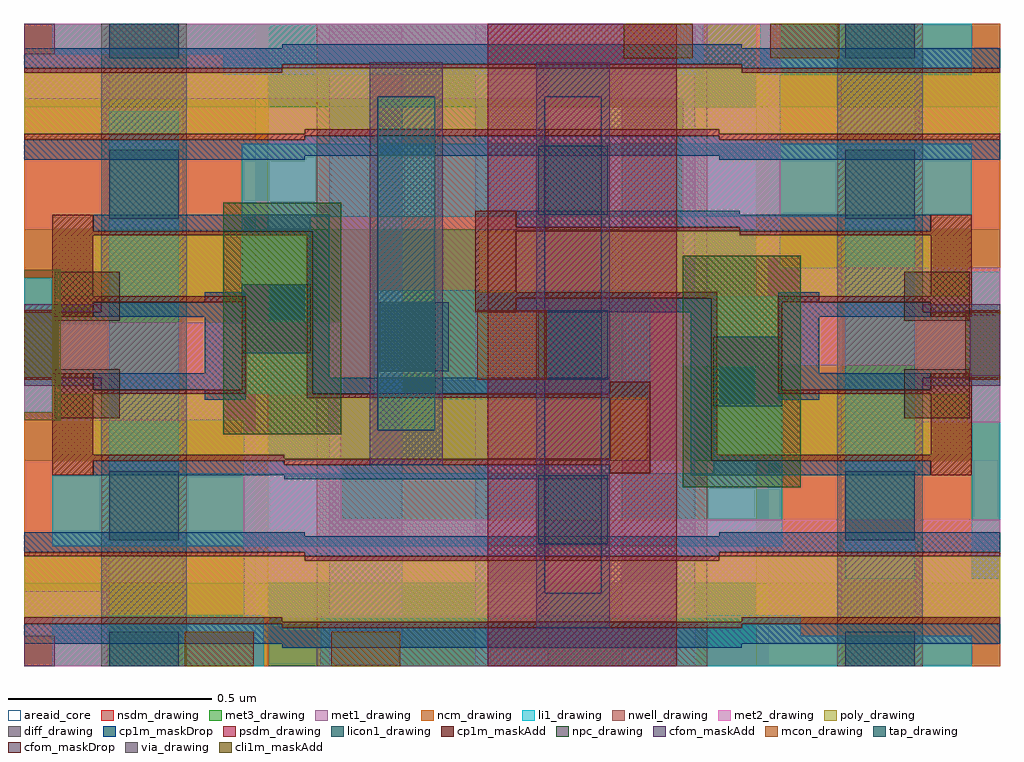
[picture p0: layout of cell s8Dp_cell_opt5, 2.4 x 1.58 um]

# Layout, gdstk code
from math import pi, radians
import gdstk
lib = gdstk.Library(unit=1e-6, precision=1e-09)
def R(c, l, rs):  # rectangles x0, y0, x1, y1
    for r in rs: c.add(gdstk.rectangle(r[:2], r[2:], *l))
def P(c, l, *ps):  # polygons
    for p in ps: c.add(gdstk.Polygon(p, *l))
cfom_maskAdd = (22, 21)
cfom_maskDrop = (22, 22)
cp1m_maskDrop = (33, 42)
cp1m_maskAdd = (33, 43)
nwell_drawing = (64, 20)
diff_drawing = (65, 20)
tap_drawing = (65, 44)
poly_drawing = (66, 20)
licon1_drawing = (66, 44)
li1_drawing = (67, 20)
mcon_drawing = (67, 44)
met1_drawing = (68, 20)
via_drawing = (68, 44)
met2_drawing = (69, 20)
met3_drawing = (70, 20)
areaid_core = (81, 2)
ncm_drawing = (92, 44)
nsdm_drawing = (93, 44)
psdm_drawing = (94, 20)
npc_drawing = (95, 20)
cli1m_maskAdd = (115, 43)

s8dp_mcon_05 = lib.new_cell('s8Dp_mcon_05')
R(s8dp_mcon_05, mcon_drawing, [(-0.085,0,0.085,0.085)])

s8dp_cell_half_limcon_op = lib.new_cell('s8Dp_cell_half_limcon_optC')
R(s8dp_cell_half_limcon_op, li1_drawing, [(0.07,0,0.59,0.125), (0.73,0,1.2,0.125), (0,0.625,0.07,0.955), (0.86,0.655,1.2,0.925)])
P(s8dp_cell_half_limcon_op, li1_drawing, [(0.49,1.455),(0.49,1.505),(0.07,1.505),(0.07,1.58),(1.2,1.58),(1.2,1.455)],
  [(0.535,0.67),(0.535,1.285),(1.2,1.285),(1.2,1.105),(0.705,1.105),(0.705,0.67)],
  [(0.07,0.295),(0.07,0.47),(0.21,0.47),(0.21,1.365),(0.38,1.365),(0.38,0.475),(1.2,0.475),(1.2,0.295)])
R(s8dp_cell_half_limcon_op, cli1m_maskAdd, [(0,0.605,0.07,0.625), (0.07,0.605,0.09,0.975), (0,0.955,0.07,0.975)])
s8dp_cell_half_limcon_op.add(gdstk.Reference(s8dp_mcon_05, (0.84,0)))
s8dp_cell_half_limcon_op.add(gdstk.Reference(s8dp_mcon_05, (1.2,0.79), rotation=pi/2))
s8dp_cell_half_limcon_op.add(gdstk.Reference(s8dp_mcon_05, (0,0.79), rotation=3*pi/2))
s8dp_cell_half_limcon_op.add(gdstk.Reference(s8dp_mcon_05, (0.48,0)))
s8dp_cell_half_limcon_op.add(gdstk.Label('with mcon', (0.215,0.795), layer=83, texttype=44))
s8dp_cell_half_limcon_op.add(gdstk.Label('short li', (0.165,0.855), layer=83, texttype=44))
s8dp_cell_half_limcon_op.add(gdstk.Label('in cell', (0.165,0.73), layer=83, texttype=44))

s8dp_cell_half_met1_opta = lib.new_cell('s8Dp_cell_half_met1_optA')
R(s8dp_cell_half_met1_opta, met1_drawing, [(0,0,0.21,1.58), (0.39,0,0.57,1.58), (0.75,0,0.93,1.58), (1.11,0,1.2,1.58)])

s8dp_cell_fom_ext_1 = lib.new_cell('s8Dp_cell_fom_ext_1')
R(s8dp_cell_fom_ext_1, cfom_maskAdd, [(-0.02,0,0.16,0.085)])

s8dp_licon_05 = lib.new_cell('s8Dp_licon_05')
R(s8dp_licon_05, licon1_drawing, [(-0.085,0,0.085,0.085)])

s8dp_licon_1 = lib.new_cell('s8Dp_licon_1')
s8dp_licon_1.add(gdstk.Reference(s8dp_licon_05, (0,0)))
s8dp_licon_1.add(gdstk.Reference(s8dp_licon_05, (0,0), x_reflection=True))

s8dp_cell_pdiff = lib.new_cell('s8Dp_cell_pdiff')
R(s8dp_cell_pdiff, cfom_maskAdd, [(1.26,0.18,1.28,1.4), (1.42,0.18,1.44,1.4), (0.85,0.58,0.87,1.4), (1.01,0.58,1.03,1.4)])
R(s8dp_cell_pdiff, nwell_drawing, [(0.72,0,1.68,1.58)])
R(s8dp_cell_pdiff, diff_drawing, [(1.28,0.18,1.42,1.4)])
R(s8dp_cell_pdiff, tap_drawing, [(0.87,0.58,1.01,1.4)])
R(s8dp_cell_pdiff, nsdm_drawing, [(0.72,0,1.14,1.58), (1.605,0,1.68,1.58)])
R(s8dp_cell_pdiff, psdm_drawing, [(1.14,0,1.605,1.58)])
s8dp_cell_pdiff.add(gdstk.Reference(s8dp_cell_fom_ext_1, (1.28,1.4)))
s8dp_cell_pdiff.add(gdstk.Reference(s8dp_cell_fom_ext_1, (0.87,1.4)))
s8dp_cell_pdiff.add(gdstk.Reference(s8dp_cell_fom_ext_1, (1.28,0.18), x_reflection=True))
s8dp_cell_pdiff.add(gdstk.Reference(s8dp_cell_fom_ext_1, (0.87,0.58), x_reflection=True))
s8dp_cell_pdiff.add(gdstk.Reference(s8dp_licon_1, (1.35,0.79)))
s8dp_cell_pdiff.add(gdstk.Reference(s8dp_licon_1, (0.96,0.81)))
s8dp_cell_pdiff.add(gdstk.Reference(s8dp_licon_1, (1.35,1.195)))
s8dp_cell_pdiff.add(gdstk.Reference(s8dp_licon_1, (1.35,0.385)))

s8dp_cell_half_wl = lib.new_cell('s8Dp_cell_half_wl')
P(s8dp_cell_half_wl, poly_drawing, [(0.635,-0.01),(0.635,0),(0,0),(0,0.15),(0.69,0.15),(0.69,0.14),(1.2,0.14),(1.2,-0.01)])

s8dp_cell_poly_chair = lib.new_cell('s8Dp_cell_poly_chair')
P(s8dp_cell_poly_chair, poly_drawing, [(0.64,0.51),(0.64,0.52),(0.08,0.52),(0.08,0.67),(0.545,0.67),(0.545,0.91),(0.08,0.91),(0.08,1.06),(0.695,1.06),(0.695,0.66),(1.28,0.66),(1.28,0.51)])
R(s8dp_cell_poly_chair, npc_drawing, [(0.49,0.57,0.78,1.14)])
s8dp_cell_poly_chair.add(gdstk.Reference(s8dp_cell_half_wl, (0,0.12)))
s8dp_cell_poly_chair.add(gdstk.Reference(s8dp_cell_half_wl, (0,1.46), x_reflection=True))
s8dp_cell_poly_chair.add(gdstk.Reference(s8dp_licon_1, (0.62,0.855)))

s8dp_cell_fom_srf_1 = lib.new_cell('s8Dp_cell_fom_srf_1')
R(s8dp_cell_fom_srf_1, cfom_maskDrop, [(-0.115,-0.02,0.045,0.1)])

s8dp_cell_ndiff = lib.new_cell('s8Dp_cell_ndiff')
R(s8dp_cell_ndiff, cfom_maskAdd, [(0,0.69,0.19,0.71), (0,0.87,0.19,0.89)])
P(s8dp_cell_ndiff, diff_drawing, [(0.19,0),(0.19,0.71),(0,0.71),(0,0.87),(0.19,0.87),(0.19,1.58),(0.4,1.58),(0.4,0)])
R(s8dp_cell_ndiff, ncm_drawing, [(0,0,0.6,1.58)])
R(s8dp_cell_ndiff, nsdm_drawing, [(0,0,0.72,1.58)])
s8dp_cell_ndiff.add(gdstk.Reference(s8dp_licon_05, (0.295,1.58), rotation=pi))
s8dp_cell_ndiff.add(gdstk.Reference(s8dp_licon_05, (0,0.79), rotation=3*pi/2))
s8dp_cell_ndiff.add(gdstk.Reference(s8dp_licon_05, (0.295,0)))
s8dp_cell_ndiff.add(gdstk.Reference(s8dp_licon_1, (0.295,1.185)))
s8dp_cell_ndiff.add(gdstk.Reference(s8dp_licon_1, (0.295,0.395)))
s8dp_cell_ndiff.add(gdstk.Reference(s8dp_cell_fom_srf_1, (0.19,0.87)))
s8dp_cell_ndiff.add(gdstk.Reference(s8dp_cell_fom_srf_1, (0.19,0.71), x_reflection=True))

s8dp_cell = lib.new_cell('s8Dp_cell')
R(s8dp_cell, poly_drawing, [(1.28,0.51,1.53,0.66)])
R(s8dp_cell, areaid_core, [(0,0,2.4,1.58)])
s8dp_cell.add(gdstk.Reference(s8dp_cell_pdiff, (0,0)))
s8dp_cell.add(gdstk.Reference(s8dp_cell_poly_chair, (2.4,1.58), rotation=pi))
s8dp_cell.add(gdstk.Reference(s8dp_cell_poly_chair, (0,0)))
s8dp_cell.add(gdstk.Reference(s8dp_cell_ndiff, (0,0)))
s8dp_cell.add(gdstk.Reference(s8dp_cell_ndiff, (2.4,0), rotation=pi, x_reflection=True))

s8dp_cell_half_poly_siz_ = lib.new_cell('s8Dp_cell_half_poly_siz_optD')
P(s8dp_cell_half_poly_siz_, cp1m_maskDrop, [(0.635,-0.075),(0.635,-0.065),(0,-0.065),(0,-0.015),(0.635,-0.015),(0.635,-0.025),(1.2,-0.025),(1.2,-0.075)])
P(s8dp_cell_half_poly_siz_, cp1m_maskAdd, [(0.635,-0.025),(0.635,-0.015),(0,-0.015),(0,0),(0.635,0),(0.635,-0.01),(1.2,-0.01),(1.2,-0.025)])

c_s8dp_cell_half_poly_siz_ = lib.new_cell('s8Dp_cell_half_poly_siz_optC')
P(c_s8dp_cell_half_poly_siz_, cp1m_maskDrop, [(0.69,0),(0.69,0.01),(0,0.01),(0,0.06),(0.69,0.06),(0.69,0.05),(1.2,0.05),(1.2,0)])
R(c_s8dp_cell_half_poly_siz_, cp1m_maskAdd, [(0.69,-0.01,1.2,0), (0,0,0.69,0.01)])

c_s8dp_cell_half_poly_siz__ = lib.new_cell('s8Dp_cell_half_poly_siz_optA')
P(c_s8dp_cell_half_poly_siz__, cp1m_maskDrop, [(0,0.01),(0,0.06),(0.635,0.06),(0.635,0.07),(1.2,0.07),(1.2,0.02),(0.635,0.02),(0.635,0.01)])
R(c_s8dp_cell_half_poly_siz__, cp1m_maskAdd, [(0,0,0.635,0.01), (0.635,0.01,1.2,0.02)])

s8dp_cell_poly_srf_optb = lib.new_cell('s8Dp_cell_poly_srf_optB')
R(s8dp_cell_poly_srf_optb, cp1m_maskAdd, [(0,-0.185,0.1,0.04)])

s8dp_cell_poly_srf_opta = lib.new_cell('s8Dp_cell_poly_srf_optA')
R(s8dp_cell_poly_srf_opta, cp1m_maskAdd, [(-0.1,-0.2,0,0.05)])

c_s8dp_cell_half_poly_siz___ = lib.new_cell('s8Dp_cell_half_poly_siz_optB')
P(c_s8dp_cell_half_poly_siz___, cp1m_maskDrop, [(0,-0.065),(0,-0.015),(0.69,-0.015),(0.69,-0.005),(1.2,-0.005),(1.2,-0.055),(0.69,-0.055),(0.69,-0.065)])
P(c_s8dp_cell_half_poly_siz___, cp1m_maskAdd, [(0,-0.015),(0,0),(0.69,0),(0.69,0.01),(1.2,0.01),(1.2,-0.005),(0.69,-0.005),(0.69,-0.015)])

s8dp_cell_poly_srf_dp_op = lib.new_cell('s8Dp_cell_poly_srf_dp_optA')
R(s8dp_cell_poly_srf_dp_op, cp1m_maskDrop, [(0,-0.24,0.1,0.025)])

s8dp_cell_opt1_poly_siz = lib.new_cell('s8Dp_cell_opt1_poly_siz')
P(s8dp_cell_opt1_poly_siz, cp1m_maskDrop, [(1.64,0.47),(1.64,0.87),(1.21,0.87),(1.21,0.905),(1.69,0.905),(1.69,0.505),(2.23,0.505),(2.23,0.47)],
  [(0.71,0.67),(0.71,1.07),(0.17,1.07),(0.17,1.11),(0.75,1.11),(0.75,0.71),(1.44,0.71),(1.44,0.67)],
  [(0.17,0.68),(0.17,0.72),(0.5,0.72),(0.5,0.86),(0.17,0.86),(0.17,0.895),(0.535,0.895),(0.535,0.68)],
  [(0.64,0.46),(0.64,0.47),(0.17,0.47),(0.17,0.505),(0.64,0.505),(0.64,0.495),(1.44,0.495),(1.44,0.46)],
  [(1.76,1.07),(1.76,1.08),(1.21,1.08),(1.21,1.12),(1.76,1.12),(1.76,1.11),(2.23,1.11),(2.23,1.07)],
  [(1.865,0.68),(1.865,0.895),(2.23,0.895),(2.23,0.86),(1.9,0.86),(1.9,0.72),(2.23,0.72),(2.23,0.68)])
R(s8dp_cell_opt1_poly_siz, cp1m_maskAdd, [(1.76,1.06,2.23,1.07), (1.21,1.07,1.76,1.08)])
P(s8dp_cell_opt1_poly_siz, cp1m_maskAdd, [(0.695,0.66),(0.695,1.06),(0.17,1.06),(0.17,1.07),(0.71,1.07),(0.71,0.67),(1.44,0.67),(1.44,0.66)],
  [(1.69,0.505),(1.69,0.905),(1.21,0.905),(1.21,0.92),(1.705,0.92),(1.705,0.52),(2.23,0.52),(2.23,0.505)],
  [(0.64,0.495),(0.64,0.505),(0.17,0.505),(0.17,0.52),(0.64,0.52),(0.64,0.51),(1.44,0.51),(1.44,0.495)],
  [(0.17,0.67),(0.17,0.68),(0.535,0.68),(0.535,0.895),(0.17,0.895),(0.17,0.91),(0.545,0.91),(0.545,0.67)],
  [(1.855,0.67),(1.855,0.91),(2.23,0.91),(2.23,0.895),(1.865,0.895),(1.865,0.68),(2.23,0.68),(2.23,0.67)])
s8dp_cell_opt1_poly_siz.add(gdstk.Reference(s8dp_cell_half_poly_siz_, (2.4,0.12), rotation=pi, x_reflection=True))
s8dp_cell_opt1_poly_siz.add(gdstk.Reference(s8dp_cell_half_poly_siz_, (0,0.12)))
s8dp_cell_opt1_poly_siz.add(gdstk.Reference(c_s8dp_cell_half_poly_siz_, (2.4,0.27), rotation=pi, x_reflection=True))
s8dp_cell_opt1_poly_siz.add(gdstk.Reference(c_s8dp_cell_half_poly_siz_, (0,0.27)))
s8dp_cell_opt1_poly_siz.add(gdstk.Reference(c_s8dp_cell_half_poly_siz__, (2.4,1.46), rotation=pi, x_reflection=True))
s8dp_cell_opt1_poly_siz.add(gdstk.Reference(c_s8dp_cell_half_poly_siz__, (0,1.46)))
s8dp_cell_opt1_poly_siz.add(gdstk.Reference(s8dp_cell_poly_srf_optb, (1.44,0.66)))
s8dp_cell_opt1_poly_siz.add(gdstk.Reference(s8dp_cell_poly_srf_opta, (2.23,0.67), rotation=pi, x_reflection=True))
s8dp_cell_opt1_poly_siz.add(gdstk.Reference(s8dp_cell_poly_srf_opta, (2.23,1.06), rotation=pi, x_reflection=True))
s8dp_cell_opt1_poly_siz.add(gdstk.Reference(s8dp_cell_poly_srf_opta, (1.21,1.07)))
s8dp_cell_opt1_poly_siz.add(gdstk.Reference(s8dp_cell_poly_srf_opta, (0.17,0.67)))
s8dp_cell_opt1_poly_siz.add(gdstk.Reference(s8dp_cell_poly_srf_opta, (0.17,1.06)))
s8dp_cell_opt1_poly_siz.add(gdstk.Reference(c_s8dp_cell_half_poly_siz___, (0,1.31)))
s8dp_cell_opt1_poly_siz.add(gdstk.Reference(c_s8dp_cell_half_poly_siz___, (2.4,1.31), rotation=pi, x_reflection=True))
s8dp_cell_opt1_poly_siz.add(gdstk.Reference(s8dp_cell_poly_srf_dp_op, (0.445,0.895)))
s8dp_cell_opt1_poly_siz.add(gdstk.Reference(s8dp_cell_poly_srf_dp_op, (1.955,0.895), rotation=pi, x_reflection=True))

s8dp_cell_met23_opt5 = lib.new_cell('s8Dp_cell_met23_opt5')
R(s8dp_cell_met23_opt5, via_drawing, [(0,0,0.075,0.075), (2.325,0.715,2.4,0.865), (0,1.505,0.075,1.58)])
R(s8dp_cell_met23_opt5, met2_drawing, [(0,0,0.225,0.185), (0.225,0,1.86,0.185), (1.62,0.185,1.86,0.6), (0,0.735,0.78,0.975), (0.54,0.975,0.78,1.22), (0.54,1.22,2.4,1.46), (0,1.395,0.205,1.58)])
P(s8dp_cell_met23_opt5, met2_drawing, [(1.62,0.6),(1.62,0.84),(2.195,0.84),(2.195,0.98),(2.4,0.98),(2.4,0.6)])
R(s8dp_cell_met23_opt5, met3_drawing, [(0,0,2.4,0.205), (0,0.505,2.4,1.075), (0,1.375,2.4,1.58)])

c_s8dp_cell_half_limcon_op = lib.new_cell('s8Dp_cell_half_limcon_optA')
R(c_s8dp_cell_half_limcon_op, li1_drawing, [(0.07,0,0.59,0.125), (0.73,0,1.2,0.125), (0,0.61,0.07,1.365), (0.86,0.655,1.2,0.925)])
P(c_s8dp_cell_half_limcon_op, li1_drawing, [(0.49,1.455),(0.49,1.505),(0.07,1.505),(0.07,1.58),(1.2,1.58),(1.2,1.455)],
  [(0.535,0.67),(0.535,1.285),(1.2,1.285),(1.2,1.105),(0.705,1.105),(0.705,0.67)],
  [(0.07,0.295),(0.07,0.47),(0.21,0.47),(0.21,1.365),(0.38,1.365),(0.38,0.475),(1.2,0.475),(1.2,0.295)])
c_s8dp_cell_half_limcon_op.add(gdstk.Reference(s8dp_mcon_05, (0.84,0)))
c_s8dp_cell_half_limcon_op.add(gdstk.Reference(s8dp_mcon_05, (1.2,0.79), rotation=pi/2))
c_s8dp_cell_half_limcon_op.add(gdstk.Reference(s8dp_mcon_05, (0,0.79), rotation=3*pi/2))
c_s8dp_cell_half_limcon_op.add(gdstk.Reference(s8dp_mcon_05, (0.48,0)))

s8dp_cell_opt5 = lib.new_cell('s8Dp_cell_opt5')
s8dp_cell_opt5.add(gdstk.Reference(s8dp_cell_half_limcon_op, (0,0)))
s8dp_cell_opt5.add(gdstk.Reference(s8dp_cell_half_met1_opta, (2.4,0), rotation=pi, x_reflection=True))
s8dp_cell_opt5.add(gdstk.Reference(s8dp_cell_half_met1_opta, (0,0)))
s8dp_cell_opt5.add(gdstk.Reference(s8dp_cell, (0,0)))
s8dp_cell_opt5.add(gdstk.Reference(s8dp_cell_opt1_poly_siz, (0,0)))
s8dp_cell_opt5.add(gdstk.Reference(s8dp_cell_met23_opt5, (0,1.58), x_reflection=True))
s8dp_cell_opt5.add(gdstk.Reference(c_s8dp_cell_half_limcon_op, (2.4,1.58), rotation=pi))

lib.write_gds('s8Dp_cell_opt5.gds')
